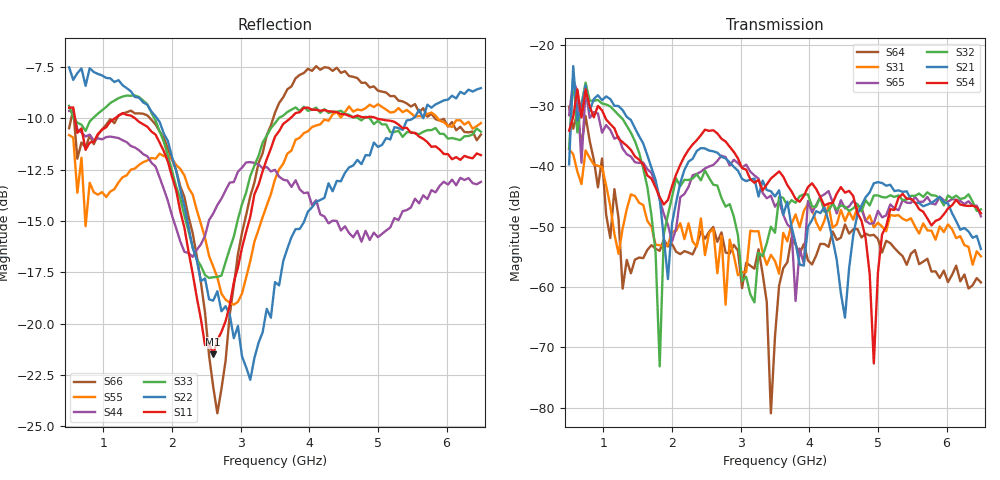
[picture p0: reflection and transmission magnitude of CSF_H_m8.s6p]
!Keysight Technologies,M9804A,MY58100912,A.14.10.03
!Date: Thursday, April 27, 2023 10:28:33
!Correction: S11(C  6-Port  )
!S12(C  6-Port  )
!S13(C  6-Port  )
!S14(C  6-Port  )
!S15(C  6-Port  )
!S16(C  6-Port  )
!S21(C  6-Port  )
!S22(C  6-Port  )
!S23(C  6-Port  )
!S24(C  6-Port  )
!S25(C  6-Port  )
!S26(C  6-Port  )
!S31(C  6-Port  )
!S32(C  6-Port  )
!S33(C  6-Port  )
!S34(C  6-Port  )
!S35(C  6-Port  )
!S36(C  6-Port  )
!S41(C  6-Port  )
!S42(C  6-Port  )
!S43(C  6-Port  )
!S44(C  6-Port  )
!S45(C  6-Port  )
!S46(C  6-Port  )
!S51(C  6-Port  )
!S52(C  6-Port  )
!S53(C  6-Port  )
!S54(C  6-Port  )
!S55(C  6-Port  )
!S56(C  6-Port  )
!S61(C  6-Port  )
!S62(C  6-Port  )
!S63(C  6-Port  )
!S64(C  6-Port  )
!S65(C  6-Port  )
!S66(C  6-Port  )
!S6P File: Measurement: :
# Hz S  RI  R 50
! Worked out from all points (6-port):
!   101 points, 500 MHz to 6.5 GHz, reference 50 ohm
!   strongest paths, dB at 500 MHz, 2 GHz, 3.5 GHz, 5 GHz, 6.5 GHz:
!     S54: -34.1, -43.3, -41.5, -57.6, -47.8
!     S21: -39.7, -49.5, -45.0, -42.6, -53.7
!     S32: -37.1, -45.1, -51.0, -44.8, -47.2
!     S65: -31.6, -52.5, -46.7, -47.4, -48.3
!     S31: -37.2, -50.9, -55.7, -49.4, -54.9
!     S64: -30.2, -52.9, -68.2, -52.1, -59.2
!   lowest |S11| = -21.5 dB at 2.6 GHz (marker M1), VSWR 1.18, Z = 42.5 + j2.02 ohm
!   |S11| at or under -10 dB: 585.9 MHz to 1.163 GHz (576.6 MHz wide, 66 % of centre); 1.463 GHz to 3.72 GHz (2.257 GHz wide, 87.1 % of centre); 4.984 GHz to end of sweep
